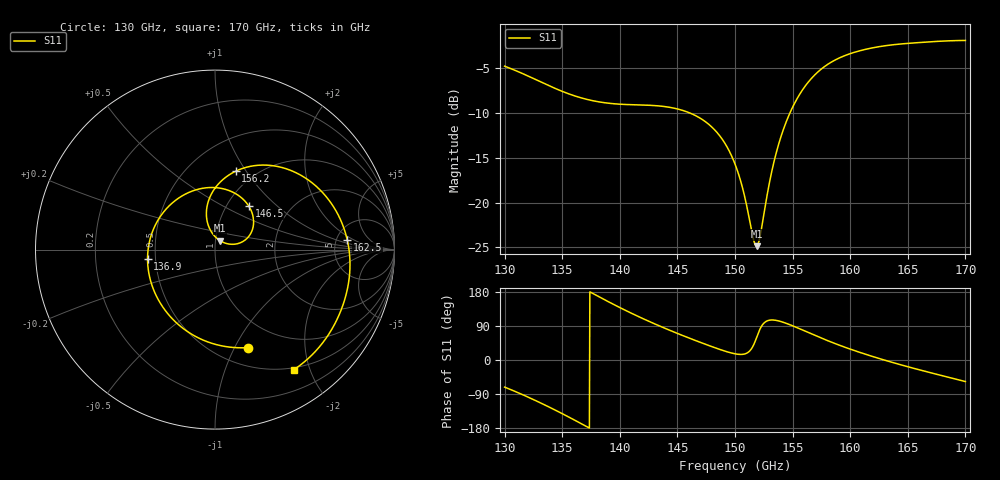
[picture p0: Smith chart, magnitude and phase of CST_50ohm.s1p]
! TOUCHSTONE file generated by CST MICROWAVE STUDIO
! Date and time: Thu Nov 19 19:36:26 2026
! Project name: ShiftBracket85_Delivery.cst
! Parameters = {array_spacing=1.12; eps_r=3.5; feed_width=0.1913; ground_length=1.5; ground_width=2.5; inset_gap=0.02; inset_length=0.165; junction_y=-0.405; launch_length=0.5; loss_tangent=0.0027; mesh_box=54; mesh_near=36; metal_thickness=0.002; patch_length=0.5102; patch_width=0.667; port_halfwid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
! Header version: 2024
! Port assignment regex: !\s*Touchstone port\s*([0-9]+)\s*=\s*(CST MWS port|CST DES external port|CST DES block port)\s*(.+)\s* \(\"(.*)\"\)(\s*mode\s*([0-9]+))?.*
! Touchstone port assignment:
! Touchstone port 1 = CST MWS port 1 ("50ohm_microstrip")
# GHz S RI R 50
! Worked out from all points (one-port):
!   1001 points, 130 GHz to 170 GHz, reference 50 ohm
!   lowest |S11| = -24.9 dB at 151.9 GHz (marker M1), VSWR 1.12, Z = 52.7 + j5.22 ohm
!   |S11| at or under -10 dB: 146.1 GHz to 154.8 GHz (8.717 GHz wide, 5.8 % of centre)
!   S11 on the Smith chart (normalised r, x): 130 GHz: 0.69, -1.13; 136.9 GHz: 0.45, -0.05; 146.5 GHz: 1.26, +0.67; 156.2 GHz: 0.82, +0.90; 162.5 GHz: 6.28, +1.52; 170 GHz: 0.47, -1.75
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130  0.1823 -0.5461
132.28  -0.0979 -0.4893
133.68  -0.2364 -0.3869
135  -0.3262 -0.2593
136.92  -0.3757 -0.0505
138.36  -0.3489 0.0989
140  -0.2642 0.2348
142.48  -0.0767 0.3402
145  0.1129 0.3128
146.52  0.1888 0.2415
148.56  0.2102 0.1173
150  0.1574 0.0462
150.72  0.1122 0.0304
151.6  0.0487 0.0392
151.88  0.0288 0.0494
152.2  0.00746 0.0656
152.96  -0.0324 0.1221
153.56  -0.0473 0.1812
154.24  -0.0407 0.2566
155  -0.00152 0.34
156.16  0.1152 0.4368
157.04  0.2318 0.4691
157.92  0.3536 0.462
160  0.5927 0.325
162.48  0.7367 0.0549
165  0.7342 -0.2353
167.36  0.6343 -0.4707
170  0.4375 -0.6705
